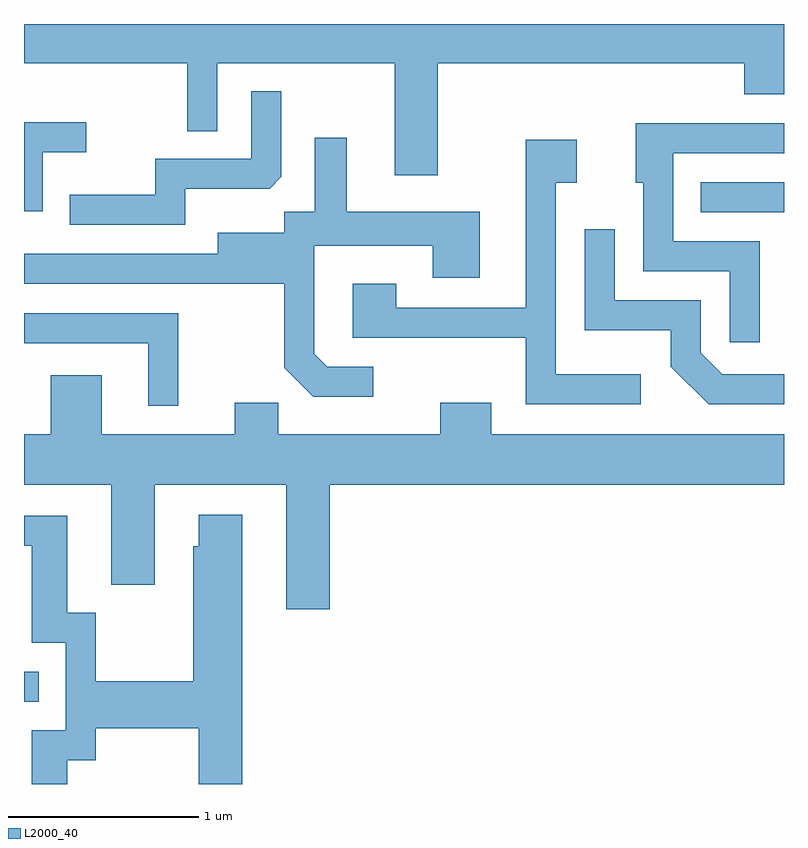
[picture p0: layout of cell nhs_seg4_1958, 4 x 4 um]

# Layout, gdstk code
import gdstk
lib = gdstk.Library(unit=1e-6, precision=1e-09)
def R(c, l, rs):  # rectangles x0, y0, x1, y1
    for r in rs: c.add(gdstk.rectangle(r[:2], r[2:], *l))
def P(c, l, *ps):  # polygons
    for p in ps: c.add(gdstk.Polygon(p, *l))
L2000_40 = (2000, 40)

nhs_seg4_1958 = lib.new_cell('nhs_seg4_1958')
R(nhs_seg4_1958, L2000_40, [(241.611,1362.416,241.688,1362.574), (245.173,1364.991,245.611,1365.149)])
P(nhs_seg4_1958, L2000_40, [(243.789,1365.776),(245.401,1365.776),(245.401,1365.611),(245.611,1365.611),(245.611,1365.982),(241.611,1365.982),(241.611,1365.776),(242.471,1365.776),(242.471,1365.418),(242.629,1365.418),(242.629,1365.776),(243.561,1365.776),(243.561,1365.186),(243.789,1365.186)],
  [(242.459,1365.116),(242.904,1365.116),(242.964,1365.177),(242.964,1365.628),(242.806,1365.628),(242.806,1365.274),(242.301,1365.274),(242.301,1365.084),(241.853,1365.084),(241.853,1364.926),(242.459,1364.926)],
  [(241.709,1365.306),(241.938,1365.306),(241.938,1365.464),(241.611,1365.464),(241.611,1364.996),(241.709,1364.996)],
  [(245.484,1364.839),(245.029,1364.839),(245.029,1365.301),(245.611,1365.301),(245.611,1365.459),(244.831,1365.459),(244.831,1365.146),(244.871,1365.146),(244.871,1364.681),(245.326,1364.681),(245.326,1364.308),(245.484,1364.308)],
  [(243.448,1364.179),(243.207,1364.179),(243.139,1364.247),(243.139,1364.816),(243.761,1364.816),(243.761,1364.646),(244.009,1364.646),(244.009,1364.994),(243.309,1364.994),(243.309,1365.383),(243.141,1365.383),(243.141,1364.994),(242.981,1364.994),(242.981,1364.884),(242.631,1364.884),(242.631,1364.774),(241.611,1364.774),(241.611,1364.616),(242.981,1364.616),(242.981,1364.174),(243.134,1364.021),(243.448,1364.021)],
  [(244.858,1364.139),(244.409,1364.139),(244.409,1365.146),(244.519,1365.146),(244.519,1365.374),(244.251,1365.374),(244.251,1364.489),(243.569,1364.489),(243.569,1364.614),(243.341,1364.614),(243.341,1364.331),(244.251,1364.331),(244.251,1363.981),(244.858,1363.981)],
  [(245.611,1364.139),(245.287,1364.139),(245.174,1364.252),(245.174,1364.529),(244.719,1364.529),(244.719,1364.903),(244.561,1364.903),(244.561,1364.371),(245.016,1364.371),(245.016,1364.179),(245.214,1363.981),(245.611,1363.981)],
  [(242.424,1364.459),(241.611,1364.459),(241.611,1364.301),(242.266,1364.301),(242.266,1363.973),(242.424,1363.973)],
  [(243.219,1363.556),(245.611,1363.556),(245.611,1363.824),(244.069,1363.824),(244.069,1363.989),(243.801,1363.989),(243.801,1363.824),(242.949,1363.824),(242.949,1363.989),(242.721,1363.989),(242.721,1363.824),(242.019,1363.824),(242.019,1364.134),(241.751,1364.134),(241.751,1363.824),(241.611,1363.824),(241.611,1363.556),(242.071,1363.556),(242.071,1363.031),(242.299,1363.031),(242.299,1363.556),(242.991,1363.556),(242.991,1362.901),(243.219,1362.901)],
  [(241.839,1362.106),(241.989,1362.106),(241.989,1362.276),(242.531,1362.276),(242.531,1361.982),(242.759,1361.982),(242.759,1363.399),(242.531,1363.399),(242.531,1363.234),(242.501,1363.234),(242.501,1362.524),(241.989,1362.524),(241.989,1362.884),(241.839,1362.884),(241.839,1363.394),(241.611,1363.394),(241.611,1363.236),(241.651,1363.236),(241.651,1362.726),(241.831,1362.726),(241.831,1362.264),(241.651,1362.264),(241.651,1361.982),(241.839,1361.982)])

lib.write_gds('nhs_seg4_1958.gds')
